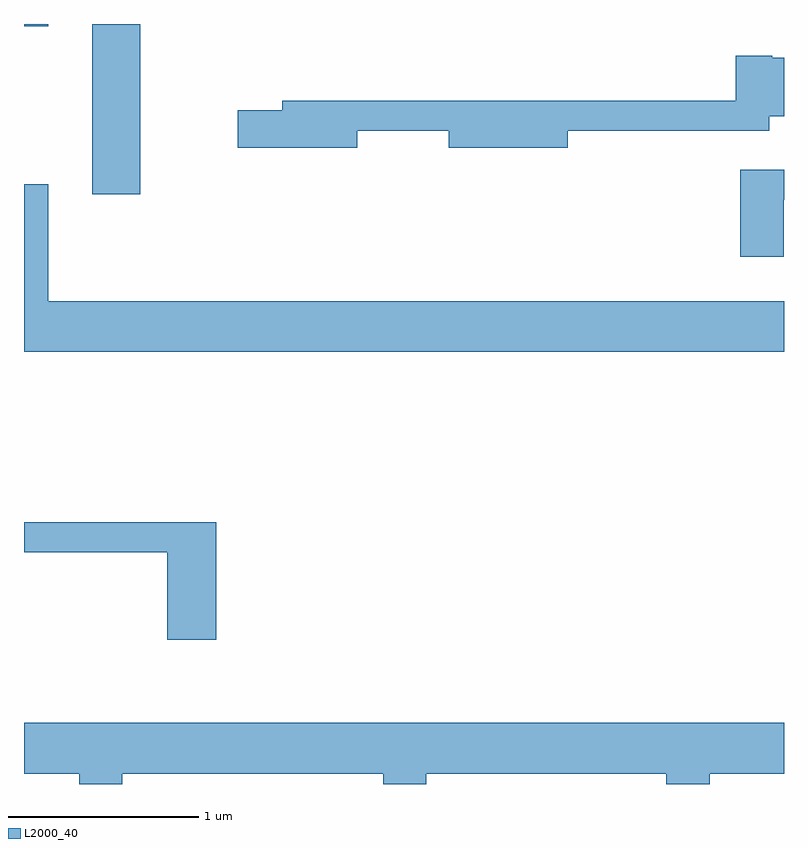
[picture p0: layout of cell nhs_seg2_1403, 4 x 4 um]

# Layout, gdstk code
import gdstk
lib = gdstk.Library(unit=1e-6, precision=1e-09)
def R(c, l, rs):  # rectangles x0, y0, x1, y1
    for r in rs: c.add(gdstk.rectangle(r[:2], r[2:], *l))
def P(c, l, *ps):  # polygons
    for p in ps: c.add(gdstk.Polygon(p, *l))
L2000_40 = (2000, 40)

nhs_seg2_1403 = lib.new_cell('nhs_seg2_1403')
R(nhs_seg2_1403, L2000_40, [(225.971,1066.906,226.224,1067.802), (225.611,1067.791,225.739,1067.802)])
P(nhs_seg2_1403, L2000_40, [(227.364,1067.241),(227.846,1067.241),(227.846,1067.151),(228.474,1067.151),(228.474,1067.241),(229.534,1067.241),(229.534,1067.316),(229.611,1067.316),(229.611,1067.624),(229.55,1067.624),(229.55,1067.634),(229.356,1067.634),(229.356,1067.399),(226.971,1067.399),(226.971,1067.349),(226.736,1067.349),(226.736,1067.151),(227.364,1067.151)],
  [(229.609,1066.876),(229.611,1066.876),(229.611,1067.034),(229.381,1067.034),(229.381,1066.576),(229.609,1066.576)],
  [(229.611,1066.344),(225.739,1066.344),(225.739,1066.959),(225.611,1066.959),(225.611,1066.076),(229.611,1066.076)],
  [(226.624,1065.179),(225.611,1065.179),(225.611,1065.021),(226.366,1065.021),(226.366,1064.561),(226.624,1064.561)],
  [(226.129,1063.856),(227.501,1063.856),(227.501,1063.802),(227.729,1063.802),(227.729,1063.856),(228.991,1063.856),(228.991,1063.802),(229.219,1063.802),(229.219,1063.856),(229.611,1063.856),(229.611,1064.124),(225.611,1064.124),(225.611,1063.856),(225.901,1063.856),(225.901,1063.802),(226.129,1063.802)])

lib.write_gds('nhs_seg2_1403.gds')
